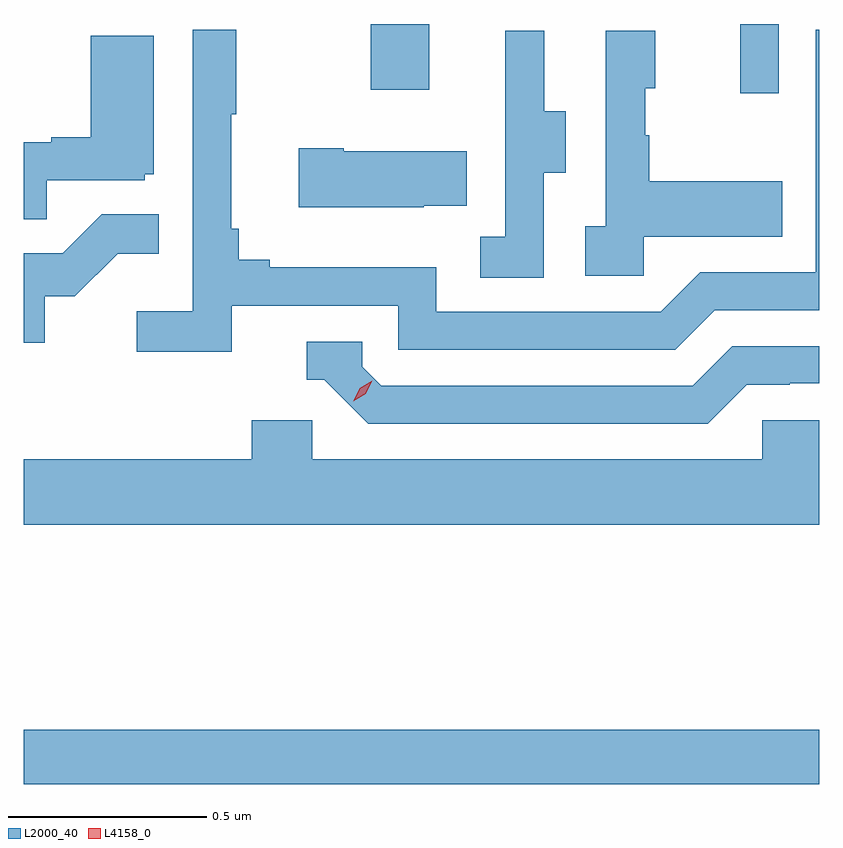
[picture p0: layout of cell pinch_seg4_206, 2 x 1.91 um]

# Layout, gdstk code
import gdstk
lib = gdstk.Library(unit=1e-6, precision=1e-09)
def R(c, l, rs):  # rectangles x0, y0, x1, y1
    for r in rs: c.add(gdstk.rectangle(r[:2], r[2:], *l))
def P(c, l, *ps):  # polygons
    for p in ps: c.add(gdstk.Polygon(p, *l))
L2000_40 = (2000, 40)
L4158_0 = (4158, 0)

pinch_seg4_206 = lib.new_cell('pinch_seg4_206')
R(pinch_seg4_206, L2000_40, [(964.597,830.8,966.597,830.936), (966.398,832.536,966.495,832.71), (965.47,832.545,965.617,832.71)])
P(pinch_seg4_206, L2000_40, [(965.12,832.002),(965.538,832.002),(965.538,831.891),(966.235,831.891),(966.334,831.99),(966.597,831.99),(966.597,832.695),(966.588,832.695),(966.588,832.086),(966.297,832.086),(966.198,831.987),(965.634,831.987),(965.634,832.099),(965.215,832.099),(965.215,832.118),(965.138,832.118),(965.138,832.195),(965.119,832.195),(965.119,832.483),(965.131,832.483),(965.131,832.696),(965.022,832.696),(965.022,831.988),(964.881,831.988),(964.881,831.886),(965.12,831.886)],
  [(966.156,832.175),(966.503,832.175),(966.503,832.315),(966.169,832.315),(966.169,832.43),(966.159,832.43),(966.159,832.548),(966.184,832.548),(966.184,832.693),(966.06,832.693),(966.06,832.202),(966.009,832.202),(966.009,832.077),(966.156,832.077)],
  [(965.904,832.336),(965.959,832.336),(965.959,832.491),(965.905,832.491),(965.905,832.693),(965.807,832.693),(965.807,832.479),(965.808,832.479),(965.808,832.175),(965.745,832.175),(965.745,832.072),(965.904,832.072)],
  [(964.655,832.317),(964.902,832.317),(964.902,832.332),(964.924,832.332),(964.924,832.681),(964.766,832.681),(964.766,832.426),(964.667,832.426),(964.667,832.413),(964.597,832.413),(964.597,832.219),(964.655,832.219)],
  [(965.603,832.253),(965.711,832.253),(965.711,832.39),(965.401,832.39),(965.401,832.398),(965.289,832.398),(965.289,832.25),(965.603,832.25)],
  [(964.65,832.026),(964.726,832.026),(964.833,832.133),(964.937,832.133),(964.937,832.232),(964.793,832.232),(964.695,832.134),(964.597,832.134),(964.597,831.909),(964.65,831.909)],
  [(966.415,831.804),(966.522,831.804),(966.522,831.807),(966.597,831.807),(966.597,831.9),(966.378,831.9),(966.279,831.801),(965.496,831.801),(965.448,831.849),(965.448,831.912),(965.309,831.912),(965.309,831.816),(965.352,831.816),(965.463,831.705),(966.316,831.705)],
  [(966.597,831.714),(966.453,831.714),(966.453,831.616),(965.322,831.616),(965.322,831.714),(965.171,831.714),(965.171,831.616),(964.597,831.616),(964.597,831.452),(966.597,831.452)])
P(pinch_seg4_206, L4158_0, [(965.426,831.762),(965.426,831.762),(965.442,831.795),(965.473,831.814),(965.473,831.814),(965.473,831.814),(965.457,831.781),(965.426,831.762)])

lib.write_gds('pinch_seg4_206.gds')
